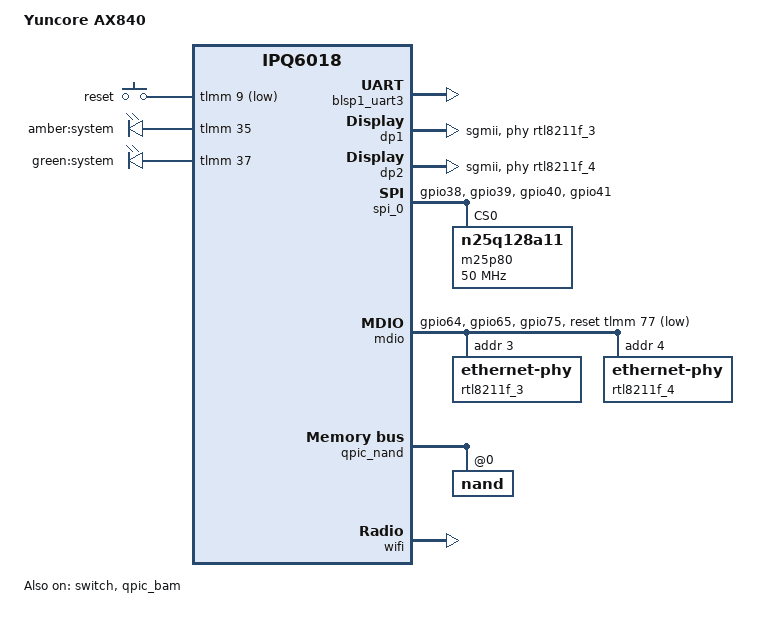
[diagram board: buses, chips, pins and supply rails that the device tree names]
// SPDX-License-Identifier: (GPL-2.0+)

/dts-v1/;

#include "ipq6018.dtsi"
#include "ipq6018-upstreamable.dtsi"
#include "ipq6018-regulator-mp5496.dtsi"
#include "ipq6018-ess.dtsi"

#include <dt-bindings/input/input.h>
#include <dt-bindings/gpio/gpio.h>

/ {
	model = "Yuncore AX840";
	compatible = "yuncore,ax840", "qcom,ipq6018-cp03", "qcom,ipq6018";
	
	aliases {
		ethernet0 = "/soc/dp2";
		ethernet1 = "/soc/dp1";
		serial0 = &blsp1_uart3;
		led-boot = &led_sys_green;
		led-failsafe = &led_sys_amber;
		led-running = &led_sys_green;
		led-upgrade = &led_sys_amber;
	};

	chosen {
		stdout-path = "serial0:115200n8";
		bootargs-append = " earlycon=msm_serial_dm,0x78b1000 console=serial0,115200n8 ubi.block=0,rootfs root=/dev/ubiblock0_1";
	};

	keys {
		compatible = "gpio-keys";

		reset {
			label = "reset";
			gpios = <&tlmm 9 GPIO_ACTIVE_LOW>;
			linux,code = <KEY_RESTART>;
		};
	};

	leds {
		compatible = "gpio-leds";

		led_sys_amber: led-0 {
			label = "amber:system";
			gpios = <&tlmm 35 GPIO_ACTIVE_HIGH>;
		};

		led_sys_green: led-1 {
			label = "green:system";
			gpios = <&tlmm 37 GPIO_ACTIVE_HIGH>;
		};
	};
};

&blsp1_uart3 {
	pinctrl-0 = <&serial_3_pins>;
	pinctrl-names = "default";
	status = "okay";
};

&tlmm {
	uart_pins: uart_pins {
		mux {
			pins = "gpio44", "gpio45";
			function = "blsp2_uart";
			drive-strength = <8>;
			bias-pull-down;
		};
	};

	spi_0_pins: spi_0_pins {
		mux {
			pins = "gpio38", "gpio39", "gpio40", "gpio41";
			function = "blsp0_spi";
			drive-strength = <8>;
			bias-pull-down;
		};
	};

	button_pins: button_pins {
		wps_button {
			pins = "gpio9";
			function = "gpio";
			drive-strength = <8>;
			bias-pull-down;
		};
	};

	mdio_pins: mdio_pinmux {
		mux_0 {
			pins = "gpio64";
			function = "mdc";
			drive-strength = <8>;
			bias-pull-up;
		};
		mux_1 {
			pins = "gpio65";
			function = "mdio";
			drive-strength = <8>;
			bias-pull-up;
		};
		mux_2 {
			pins = "gpio75";
			function = "gpio";
			bias-pull-up;
		};
	};

	leds_pins: leds_pins {
		led_blue {
			pins = "gpio35";
			function = "gpio";
			drive-strength = <2>;
			bias-pull-down;
		};

		led_green {
			pins = "gpio37";
			function = "gpio";
			drive-strength = <2>;
			bias-pull-down;
		};

		led_red {
			pins = "gpio32";
			function = "gpio";
			drive-strength = <2>;
			bias-pull-down;
		};
	};

	button_pins: button_pins {
		rst_button {
			pins = "gpio19";
			function = "gpio";
			drive-strength = <8>;
			bias-pull-up;
		};
	};
};



&soc {
	dp1 {
		device_type = "network";
		compatible = "qcom,nss-dp";
		reg = <0x0 0x3a001600 0x0 0x200>;
		qcom,mactype = <0>;
		qcom,id = <4>;
		qcom,phy-mdio-addr = <0x03>;
		phy-handle = <&rtl8211f_3>;
		phy-mode = "sgmii";
	};

	dp2 {
		device_type = "network";
		compatible = "qcom,nss-dp";
		reg = <0x0 0x3a001800 0x0 0x200>;
		qcom,mactype = <0>;
		qcom,id = <5>;
		qcom,phy-mdio-addr = <0x04>;
		phy-handle = <&rtl8211f_4>;
		phy-mode = "sgmii";
	};

	spi_0: spi@78b5000 {
		compatible = "qcom,spi-qup-v2.2.1";
		#address-cells = <1>;
		#size-cells = <0>;
		reg = <0x078b5000 0x600>;
		interrupts = <GIC_SPI 95 IRQ_TYPE_LEVEL_HIGH>;
		spi-max-frequency = <50000000>;
		clocks = <&gcc GCC_BLSP1_QUP1_SPI_APPS_CLK>,
			<&gcc GCC_BLSP1_AHB_CLK>;
		clock-names = "core", "iface";
		dmas = <&blsp_dma 12>, <&blsp_dma 13>;
		dma-names = "tx", "rx";
		status = "disabled";
	};

	spi_1: spi@78b6000 {
		compatible = "qcom,spi-qup-v2.2.1";
		#address-cells = <1>;
		#size-cells = <0>;
		reg = <0x078b6000 0x600>;
		interrupts = <GIC_SPI 96 IRQ_TYPE_LEVEL_HIGH>;
		spi-max-frequency = <50000000>;
		clocks = <&gcc GCC_BLSP1_QUP2_SPI_APPS_CLK>,
			<&gcc GCC_BLSP1_AHB_CLK>;
		clock-names = "core", "iface";
		dmas = <&blsp_dma 14>, <&blsp_dma 15>;
		dma-names = "tx", "rx";
		status = "disabled";
	};

};

&edma {
	status = "okay";
};

&mdio {
	status = "okay";
	pinctrl-0 = <&mdio_pins>;
	pinctrl-names = "default";
	reset-gpios = <&tlmm 77 GPIO_ACTIVE_LOW>;
	reset-delay-us = <10000>;
	reset-post-delay-us = <50000>;

	rtl8211f_3: ethernet-phy@0 {
		reg = <3>;
	};

	rtl8211f_4: ethernet-phy@1 {
		reg = <4>;
	};
};

&switch {
	status = "okay";
	switch_cpu_bmp =   <0x01>; /* cpu port bitmap */
	switch_lan_bmp =   <0x10>; /* lan port bitmap */
	switch_wan_bmp =   <0x20>; /* wan port bitmap */
	switch_inner_bmp = <0x80>; /*inner port bitmap*/
	switch_mac_mode =  <0x00>; /* mac mode for uniphy instance0*/
	switch_mac_mode1 = <0xff>; /* mac mode for uniphy instance1*/
	switch_mac_mode2 = <0xff>; /* mac mode for uniphy instance2*/

	qcom,port_phyinfo {
		port@3 {
			port_id = <0x04>;
			phy_address = <0x03>;
		};

		port@4 {
			port_id = <0x05>;
			phy_address = <0x04>;
		};
	};
};


/*
 * U-boot looks for "n25q128a11" node,
 * if we don't have it, it will spit out the following warning:
 * "ipq: fdt fixup unable to find compatible node".
 */
&spi_0 {
	pinctrl-0 = <&spi_0_pins>;
	pinctrl-names = "default";
	cs-select = <0>;
	status = "ok";

	m25p80@0 {
		#address-cells = <1>;
		#size-cells = <1>;
		reg = <0>;
		compatible = "n25q128a11";
		linux,modalias = "m25p80", "n25q128a11";
		spi-max-frequency = <50000000>;
		use-default-sizes;
	};
};


&qpic_bam {
	status = "ok";
};

&qpic_nand {
	status = "ok";

	nand@0 {
		reg = <0>;

		nand-ecc-strength = <4>;
		nand-ecc-step-size = <512>;
		nand-bus-width = <8>;
	};
};

&wifi {
	status = "ok";
};
